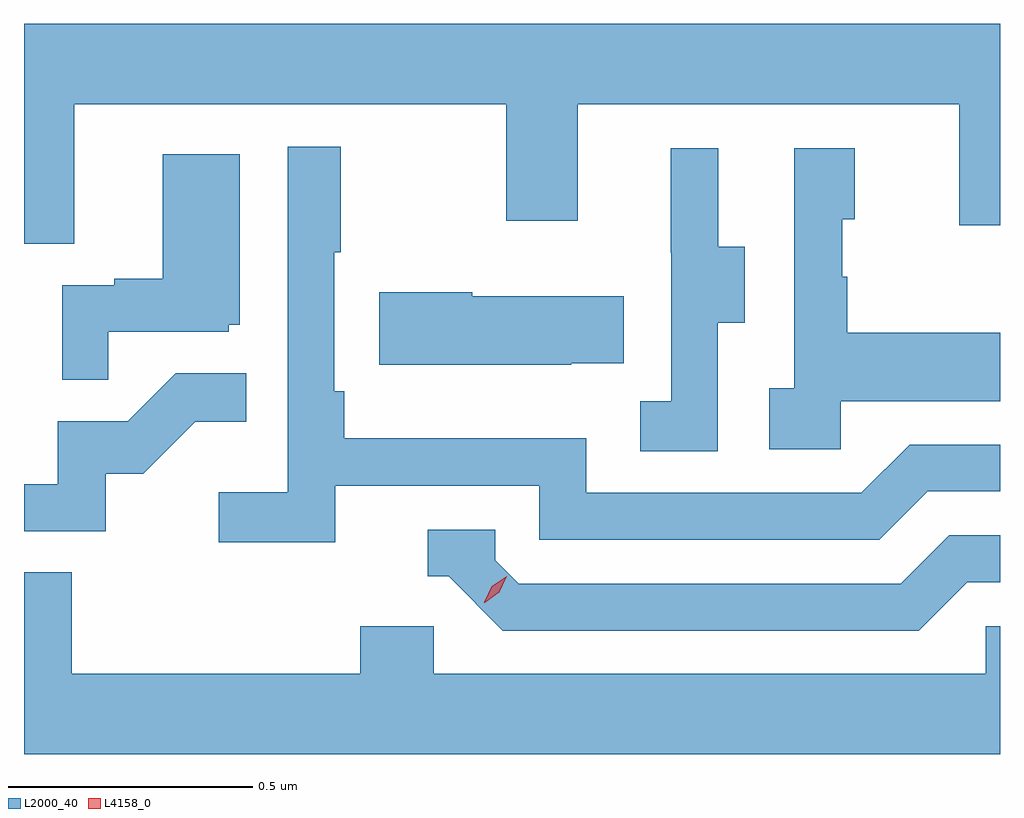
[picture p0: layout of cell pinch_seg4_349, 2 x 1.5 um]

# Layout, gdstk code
import gdstk
lib = gdstk.Library(unit=1e-6, precision=1e-09)
def P(c, l, *ps):  # polygons
    for p in ps: c.add(gdstk.Polygon(p, *l))
L2000_40 = (2000, 40)
L4158_0 = (4158, 0)

pinch_seg4_349 = lib.new_cell('pinch_seg4_349')
P(pinch_seg4_349, L2000_40, [(1008.985,808.808),(1009.87,808.808),(1009.87,808.569),(1010.017,808.569),(1010.017,808.808),(1010.798,808.808),(1010.798,808.56),(1010.882,808.56),(1010.882,808.972),(1008.882,808.972),(1008.882,808.522),(1008.985,808.522)],
  [(1009.52,808.026),(1009.938,808.026),(1009.938,807.915),(1010.635,807.915),(1010.734,808.014),(1010.882,808.014),(1010.882,808.11),(1010.697,808.11),(1010.598,808.011),(1010.034,808.011),(1010.034,808.123),(1009.538,808.123),(1009.538,808.219),(1009.518,808.219),(1009.518,808.504),(1009.531,808.504),(1009.531,808.72),(1009.422,808.72),(1009.422,808.012),(1009.281,808.012),(1009.281,807.91),(1009.52,807.91)],
  [(1010.304,808.36),(1010.359,808.36),(1010.359,808.515),(1010.305,808.515),(1010.305,808.717),(1010.207,808.717),(1010.207,808.503),(1010.208,808.503),(1010.208,808.199),(1010.145,808.199),(1010.145,808.096),(1010.304,808.096)],
  [(1010.556,808.199),(1010.882,808.199),(1010.882,808.339),(1010.569,808.339),(1010.569,808.454),(1010.559,808.454),(1010.559,808.572),(1010.584,808.572),(1010.584,808.717),(1010.46,808.717),(1010.46,808.226),(1010.409,808.226),(1010.409,808.101),(1010.556,808.101)],
  [(1009.055,808.341),(1009.302,808.341),(1009.302,808.356),(1009.324,808.356),(1009.324,808.705),(1009.166,808.705),(1009.166,808.45),(1009.067,808.45),(1009.067,808.437),(1008.96,808.437),(1008.96,808.243),(1009.055,808.243)],
  [(1010.003,808.277),(1010.111,808.277),(1010.111,808.414),(1009.801,808.414),(1009.801,808.422),(1009.61,808.422),(1009.61,808.274),(1010.003,808.274)],
  [(1009.05,808.05),(1009.126,808.05),(1009.233,808.157),(1009.337,808.157),(1009.337,808.256),(1009.193,808.256),(1009.095,808.158),(1008.951,808.158),(1008.951,808.029),(1008.882,808.029),(1008.882,807.933),(1009.05,807.933)],
  [(1010.815,807.828),(1010.882,807.828),(1010.882,807.924),(1010.778,807.924),(1010.679,807.825),(1009.896,807.825),(1009.848,807.873),(1009.848,807.936),(1009.709,807.936),(1009.709,807.84),(1009.752,807.84),(1009.863,807.729),(1010.716,807.729)],
  [(1010.882,807.738),(1010.853,807.738),(1010.853,807.64),(1009.722,807.64),(1009.722,807.738),(1009.571,807.738),(1009.571,807.64),(1008.98,807.64),(1008.98,807.848),(1008.882,807.848),(1008.882,807.476),(1010.882,807.476)])
P(pinch_seg4_349, L4158_0, [(1009.825,807.786),(1009.825,807.787),(1009.841,807.82),(1009.871,807.84),(1009.871,807.84),(1009.871,807.84),(1009.856,807.807),(1009.826,807.786)])

lib.write_gds('pinch_seg4_349.gds')
